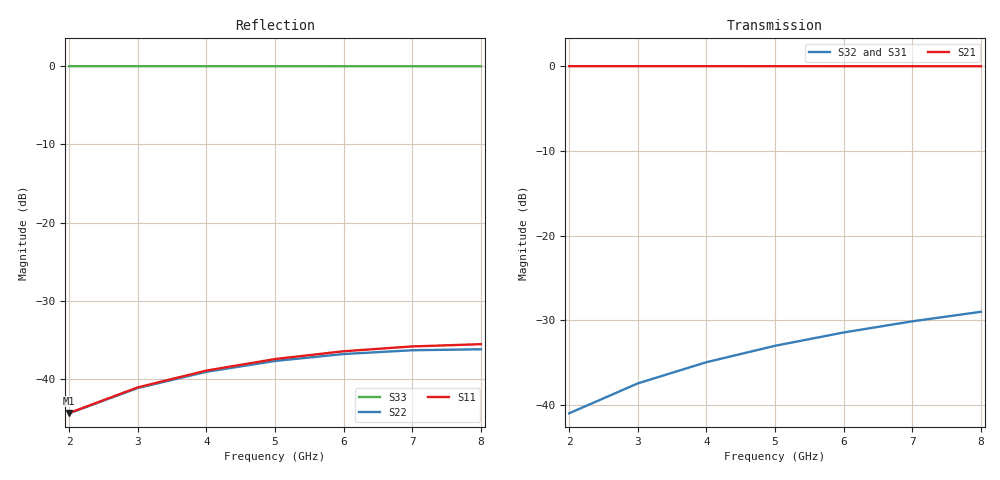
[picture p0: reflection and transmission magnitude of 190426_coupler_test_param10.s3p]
! Sonnet Data File
! From: emgraph Version : 16.56
! From Project: 190426_coupler_test
! Data is De-embedded
! Data File Written: 05/06/2019 15:59:44
!< HDATE 04/25/2019 10:48:44
!< MDATE 04/25/2019 10:59:35
!< PARAMS
!< tandelta = 0.0
!< t_aSi = 0.25
!< W = 10.0
!< Lcoupler = 900.0
!< END PARAMS
# GHZ S MA R 50.0 !  non standard terminations in data
! TERM 50.00000 0.000000 50.00000 0.000000 63.84000 0.000000
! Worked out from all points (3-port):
!   7 points, 2 GHz to 8 GHz, reference 50 ohm
!   strongest paths, dB at 2 GHz, 3 GHz, 5 GHz, 7 GHz, 8 GHz:
!     S21: 0.0, 0.0, 0.0, 0.0, 0.0
!     S32: -41.0, -37.4, -33.0, -30.1, -29.0
!     S31: -41.0, -37.5, -33.1, -30.2, -29.1
!   lowest |S11| = -44.3 dB at 2 GHz (marker M1), VSWR 1.01, Z = 50.2 + j0.557 ohm
!   |S11| at or under -10 dB: start of sweep to end of sweep
2  0.006069 65.9  0.9999 -21.7  0.008943 60.9
   0.9999 -21.7  0.006042 71.5  0.008961 83.6
   0.008943 60.9  0.008961 83.6  0.9999 -14.2
3  0.008849 53.7  0.9999 -32.5  0.01339 46.3
   0.9999 -32.5  0.00876 62.3  0.01345 80.3
   0.01339 46.3  0.01345 80.3  0.9998 -21.3
4  0.01133 41.4  0.9998 -43.3  0.01781 31.8
   0.9998 -43.3  0.01113 53.2  0.01794 77.0
   0.01781 31.8  0.01794 77.0  0.9997 -28.4
5  0.01343 28.8  0.9997 -54.2  0.02219 17.2
   0.9997 -54.2  0.01305 44.3  0.02242 73.6
   0.02219 17.2  0.02242 73.6  0.9995 -35.5
6  0.01506 16.0  0.9995 -65.0  0.02653 2.7
   0.9995 -65.0  0.01446 35.5  0.02686 70.1
   0.02653 2.7  0.02686 70.1  0.9993 -42.7
7  0.01617 2.8  0.9994 -75.8  0.03081 -11.9
   0.9994 -75.8  0.01528 26.9  0.03126 66.6
   0.03081 -11.9  0.03126 66.6  0.999 -49.8
8  0.01671 -10.8  0.9992 -86.6  0.03503 -26.4
   0.9992 -86.6  0.01551 18.7  0.03558 63.1
   0.03503 -26.4  0.03558 63.1  0.9988 -56.9
